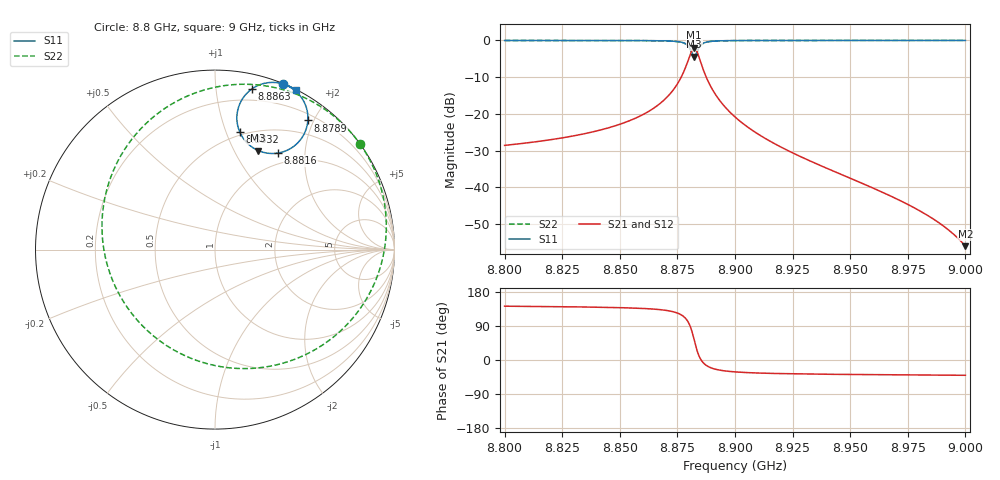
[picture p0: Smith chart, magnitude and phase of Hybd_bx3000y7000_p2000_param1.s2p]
! Sonnet Data File
! From: emgraph Version : 16.52
! From Project: Resonator2
! Data is De-embedded
! Data File Written: 10/05/2017 13:36:36
!< HDATE 10/05/2017 10:48:01
!< MDATE 10/05/2017 10:48:01
!< PARAMS
!< gap = 6.0
!< Length = 400.0
!< Pwid1 = 2000.0
!< Pwid2 = 2000.0
!< END PARAMS
# GHZ S MA R 50.00000
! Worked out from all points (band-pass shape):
!   1595 points, 8.8 GHz to 9 GHz, reference 50 ohm
!   highest |S21| = -2.00 dB at 8.8823 GHz (marker M1); lowest = -56.1 dB at 9 GHz (marker M2)
!   |S21| within 3 dB of the highest: 8.879916 GHz to 8.884619 GHz (4.703 MHz wide, 0.053 % of centre)
!   lowest |S11| = -4.4 dB at 8.8823 GHz (marker M3), VSWR 4.03, Z = 36.2 + j62.7 ohm
!   |S11| at or under -10 dB: nowhere
!   |S22| runs from -4.7 to 0.0 dB; largest |S21 - S12| = 0
!   S11 on the Smith chart (normalised r, x): 8.8 GHz: 0.00, +1.49; 8.8789 GHz: 0.29, +1.92; 8.8816 GHz: 0.83, +1.52; 8.8832 GHz: 0.47, +1.12; 8.8863 GHz: 0.11, +1.25; 9 GHz: 0.00, +1.63
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8.8  0.9993 67.8  0.0372 142.0  0.0372 142.0  0.9993 36.2
!< P1 F=8.8 Eeff=(6.44679989 -2.9721e-5) Z0=(51.7992624 1.19519e-4) R=0.0 C=0.0
!< P2 F=8.8 Eeff=(5.36817953 -2.3731e-5) Z0=(35.9853883 8.0522e-5) R=0.0 C=0.0
8.8334  0.9986 66.4  0.05262 140.0  0.05262 140.0  0.9986 33.6
8.8524  0.997 65.1  0.07666 137.8  0.07666 137.8  0.997 30.5
8.866768  0.991 63.1  0.1329 133.3  0.1329 133.3  0.9908 23.6
8.874593  0.9694 59.8  0.2444 124.8  0.2444 124.8  0.9685 10.1
8.877  0.9423 57.3  0.333 117.9  0.333 117.9  0.9405 -1.2
8.878921  0.886 54.3  0.4612 107.1  0.4612 107.1  0.8823 -19.5
8.880398  0.7818 52.1  0.6202 91.2  0.6202 91.2  0.774 -48.9
8.881615  0.6427 56.8  0.762 68.9  0.762 68.9  0.6279 -98.4
8.882308  0.6021 66.4  0.7941 52.6  0.7941 52.6  0.5847 -141.3
8.882806  0.6243 73.8  0.7769 40.6  0.7769 40.6  0.6081 -173.2
8.883248  0.6714 78.2  0.737 30.7  0.737 30.7  0.6578 162.3
8.884014  0.7649 80.7  0.6405 16.2  0.6405 16.2  0.7558 130.9
8.884609  0.824 80.3  0.5634 7.7  0.5634 7.7  0.8174 114.2
8.886312  0.9183 77.1  0.3936 -7.9  0.3936 -7.9  0.9153 86.7
8.888239  0.959 74.2  0.2816 -16.9  0.2816 -16.9  0.9575 71.7
8.890895  0.9801 71.8  0.1972 -23.3  0.1972 -23.3  0.9794 61.3
8.9  0.9958 68.5  0.09076 -31.4  0.09076 -31.4  0.9956 48.6
8.9334  0.9997 65.6  0.02223 -37.2  0.02223 -37.2  0.9997 40.0
8.9668  1 64.2  0.007788 -39.1  0.007788 -39.1  1 37.6
8.9864  1 63.5  0.003638 -39.9  0.003638 -39.9  1 36.7
9  1 63.0  0.001575 -40.3  0.001575 -40.3  1 36.1
